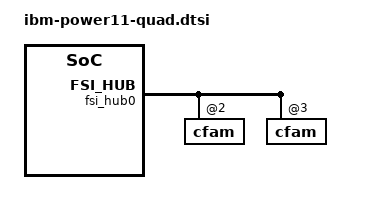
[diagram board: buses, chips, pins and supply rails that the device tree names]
// SPDX-License-Identifier: GPL-2.0-or-later
// Copyright 2024 IBM Corp.

#include "ibm-power11-dual.dtsi"

/ {
	aliases {
		i2c300 = &cfam2_i2c0;
		i2c301 = &cfam2_i2c1;
		i2c310 = &cfam2_i2c10;
		i2c311 = &cfam2_i2c11;
		i2c312 = &cfam2_i2c12;
		i2c313 = &cfam2_i2c13;
		i2c314 = &cfam2_i2c14;
		i2c315 = &cfam2_i2c15;
		i2c402 = &cfam3_i2c2;
		i2c403 = &cfam3_i2c3;
		i2c410 = &cfam3_i2c10;
		i2c411 = &cfam3_i2c11;
		i2c414 = &cfam3_i2c14;
		i2c415 = &cfam3_i2c15;
		i2c416 = &cfam3_i2c16;
		i2c417 = &cfam3_i2c17;

		sbefifo300 = &sbefifo300;
		sbefifo301 = &sbefifo301;
		sbefifo310 = &sbefifo310;
		sbefifo311 = &sbefifo311;
		sbefifo312 = &sbefifo312;
		sbefifo313 = &sbefifo313;
		sbefifo314 = &sbefifo314;
		sbefifo315 = &sbefifo315;
		sbefifo402 = &sbefifo402;
		sbefifo403 = &sbefifo403;
		sbefifo410 = &sbefifo410;
		sbefifo411 = &sbefifo411;
		sbefifo414 = &sbefifo414;
		sbefifo415 = &sbefifo415;
		sbefifo416 = &sbefifo416;
		sbefifo417 = &sbefifo417;

		scom300 = &scom300;
		scom301 = &scom301;
		scom310 = &scom310;
		scom311 = &scom311;
		scom312 = &scom312;
		scom313 = &scom313;
		scom314 = &scom314;
		scom315 = &scom315;
		scom402 = &scom402;
		scom403 = &scom403;
		scom410 = &scom410;
		scom411 = &scom411;
		scom414 = &scom414;
		scom415 = &scom415;
		scom416 = &scom416;
		scom417 = &scom417;

		spi30 = &cfam2_spi0;
		spi31 = &cfam2_spi1;
		spi32 = &cfam2_spi2;
		spi33 = &cfam2_spi3;
		spi40 = &cfam3_spi0;
		spi41 = &cfam3_spi1;
		spi42 = &cfam3_spi2;
		spi43 = &cfam3_spi3;
	};
};

&fsi_hub0 {
	cfam@2,0 {
		reg = <2 0>;
		#address-cells = <1>;
		#size-cells = <1>;
		chip-id = <2>;

		scom@1000 {
			compatible = "ibm,p9-scom";
			reg = <0x1000 0x400>;
		};

		i2c@1800 {
			compatible = "ibm,i2c-fsi";
			reg = <0x1800 0x400>;
			#address-cells = <1>;
			#size-cells = <0>;

			cfam2_i2c0: i2c-bus@0 {
				reg = <0>;	/* OM01 */
				#address-cells = <1>;
				#size-cells = <0>;

				fsi@20 {
					compatible = "ibm,i2cr-fsi-master";
					reg = <0x20>;
					#address-cells = <2>;
					#size-cells = <0>;

					cfam@0,0 {
						reg = <0 0>;
						#address-cells = <1>;
						#size-cells = <1>;
						chip-id = <0>;

						scom300: scom@1000 {
							compatible = "ibm,i2cr-scom";
							reg = <0x1000 0x400>;
						};

						sbefifo300: sbefifo@2400 {
							compatible = "ibm,odyssey-sbefifo";
							reg = <0x2400 0x400>;
						};
					};
				};
			};

			cfam2_i2c1: i2c-bus@1 {
				reg = <1>;	/* OM23 */
				#address-cells = <1>;
				#size-cells = <0>;

				fsi@20 {
					compatible = "ibm,i2cr-fsi-master";
					reg = <0x20>;
					#address-cells = <2>;
					#size-cells = <0>;

					cfam@0,0 {
						reg = <0 0>;
						#address-cells = <1>;
						#size-cells = <1>;
						chip-id = <0>;

						scom301: scom@1000 {
							compatible = "ibm,i2cr-scom";
							reg = <0x1000 0x400>;
						};

						sbefifo301: sbefifo@2400 {
							compatible = "ibm,odyssey-sbefifo";
							reg = <0x2400 0x400>;
						};
					};
				};
			};

			cfam2_i2c10: i2c-bus@a {
				reg = <10>;	/* OP3A */
				#address-cells = <1>;
				#size-cells = <0>;

				fsi@20 {
					compatible = "ibm,i2cr-fsi-master";
					reg = <0x20>;
					#address-cells = <2>;
					#size-cells = <0>;

					cfam@0,0 {
						reg = <0 0>;
						#address-cells = <1>;
						#size-cells = <1>;
						chip-id = <0>;

						scom310: scom@1000 {
							compatible = "ibm,i2cr-scom";
							reg = <0x1000 0x400>;
						};

						sbefifo310: sbefifo@2400 {
							compatible = "ibm,odyssey-sbefifo";
							reg = <0x2400 0x400>;
						};
					};
				};
			};

			cfam2_i2c11: i2c-bus@b {
				reg = <11>;	/* OP3B */
				#address-cells = <1>;
				#size-cells = <0>;

				fsi@20 {
					compatible = "ibm,i2cr-fsi-master";
					reg = <0x20>;
					#address-cells = <2>;
					#size-cells = <0>;

					cfam@0,0 {
						reg = <0 0>;
						#address-cells = <1>;
						#size-cells = <1>;
						chip-id = <0>;

						scom311: scom@1000 {
							compatible = "ibm,i2cr-scom";
							reg = <0x1000 0x400>;
						};

						sbefifo311: sbefifo@2400 {
							compatible = "ibm,odyssey-sbefifo";
							reg = <0x2400 0x400>;
						};
					};
				};
			};

			cfam2_i2c12: i2c-bus@c {
				reg = <12>;	/* OP4A */
				#address-cells = <1>;
				#size-cells = <0>;

				fsi@20 {
					compatible = "ibm,i2cr-fsi-master";
					reg = <0x20>;
					#address-cells = <2>;
					#size-cells = <0>;

					cfam@0,0 {
						reg = <0 0>;
						#address-cells = <1>;
						#size-cells = <1>;
						chip-id = <0>;

						scom312: scom@1000 {
							compatible = "ibm,i2cr-scom";
							reg = <0x1000 0x400>;
						};

						sbefifo312: sbefifo@2400 {
							compatible = "ibm,odyssey-sbefifo";
							reg = <0x2400 0x400>;
						};
					};
				};
			};

			cfam2_i2c13: i2c-bus@d {
				reg = <13>;	/* OP4B */
				#address-cells = <1>;
				#size-cells = <0>;

				fsi@20 {
					compatible = "ibm,i2cr-fsi-master";
					reg = <0x20>;
					#address-cells = <2>;
					#size-cells = <0>;

					cfam@0,0 {
						reg = <0 0>;
						#address-cells = <1>;
						#size-cells = <1>;
						chip-id = <0>;

						scom313: scom@1000 {
							compatible = "ibm,i2cr-scom";
							reg = <0x1000 0x400>;
						};

						sbefifo313: sbefifo@2400 {
							compatible = "ibm,odyssey-sbefifo";
							reg = <0x2400 0x400>;
						};
					};
				};
			};

			cfam2_i2c14: i2c-bus@e {
				reg = <14>;	/* OP5A */
				#address-cells = <1>;
				#size-cells = <0>;

				fsi@20 {
					compatible = "ibm,i2cr-fsi-master";
					reg = <0x20>;
					#address-cells = <2>;
					#size-cells = <0>;

					cfam@0,0 {
						reg = <0 0>;
						#address-cells = <1>;
						#size-cells = <1>;
						chip-id = <0>;

						scom314: scom@1000 {
							compatible = "ibm,i2cr-scom";
							reg = <0x1000 0x400>;
						};

						sbefifo314: sbefifo@2400 {
							compatible = "ibm,odyssey-sbefifo";
							reg = <0x2400 0x400>;
						};
					};
				};
			};

			cfam2_i2c15: i2c-bus@f {
				reg = <15>;	/* OP5B */
				#address-cells = <1>;
				#size-cells = <0>;

				fsi@20 {
					compatible = "ibm,i2cr-fsi-master";
					reg = <0x20>;
					#address-cells = <2>;
					#size-cells = <0>;

					cfam@0,0 {
						reg = <0 0>;
						#address-cells = <1>;
						#size-cells = <1>;
						chip-id = <0>;

						scom315: scom@1000 {
							compatible = "ibm,i2cr-scom";
							reg = <0x1000 0x400>;
						};

						sbefifo315: sbefifo@2400 {
							compatible = "ibm,odyssey-sbefifo";
							reg = <0x2400 0x400>;
						};
					};
				};
			};
		};

		fsi2spi@1c00 {
			compatible = "ibm,fsi2spi";
			reg = <0x1c00 0x400>;
			#address-cells = <1>;
			#size-cells = <0>;

			cfam2_spi0: spi@0 {
				compatible = "ibm,spi-fsi";
				reg = <0x0>;
				#address-cells = <1>;
				#size-cells = <0>;

				eeprom@0 {
					compatible = "atmel,at25";
					reg = <0>;
					address-width = <24>;
					pagesize = <256>;
					size = <0x80000>;
					spi-max-frequency = <10000000>;
				};
			};

			cfam2_spi1: spi@20 {
				compatible = "ibm,spi-fsi";
				reg = <0x20>;
				#address-cells = <1>;
				#size-cells = <0>;

				eeprom@0 {
					compatible = "atmel,at25";
					reg = <0>;
					address-width = <24>;
					pagesize = <256>;
					size = <0x80000>;
					spi-max-frequency = <10000000>;
				};
			};

			cfam2_spi2: spi@40 {
				compatible = "ibm,spi-fsi";
				reg = <0x40>;
				#address-cells = <1>;
				#size-cells = <0>;

				eeprom@0 {
					compatible = "atmel,at25";
					reg = <0>;
					address-width = <24>;
					pagesize = <256>;
					size = <0x80000>;
					spi-max-frequency = <10000000>;
				};
			};

			cfam2_spi3: spi@60 {
				compatible = "ibm,spi-fsi";
				reg = <0x60>;
				#address-cells = <1>;
				#size-cells = <0>;

				eeprom@0 {
					compatible = "atmel,at25";
					reg = <0>;
					address-width = <24>;
					pagesize = <256>;
					size = <0x80000>;
					spi-max-frequency = <10000000>;
				};
			};
		};

		sbefifo@2400 {
			compatible = "ibm,p9-sbefifo";
			reg = <0x2400 0x400>;

			occ {
				compatible = "ibm,p10-occ";

				hwmon {
					compatible = "ibm,p10-occ-hwmon";
					ibm,no-poll-on-init;
				};
			};
		};

		fsi@3400 {
			compatible = "ibm,p9-fsi-controller";
			reg = <0x3400 0x400>;
			#address-cells = <2>;
			#size-cells = <0>;
			no-scan-on-init;
		};
	};

	cfam@3,0 {
		reg = <3 0>;
		#address-cells = <1>;
		#size-cells = <1>;
		chip-id = <3>;

		scom@1000 {
			compatible = "ibm,p9-scom";
			reg = <0x1000 0x400>;
		};

		i2c@1800 {
			compatible = "ibm,i2c-fsi";
			reg = <0x1800 0x400>;
			#address-cells = <1>;
			#size-cells = <0>;

			cfam3_i2c2: i2c-bus@2 {
				reg = <2>;	/* OM45 */
				#address-cells = <1>;
				#size-cells = <0>;

				fsi@20 {
					compatible = "ibm,i2cr-fsi-master";
					reg = <0x20>;
					#address-cells = <2>;
					#size-cells = <0>;

					cfam@0,0 {
						reg = <0 0>;
						#address-cells = <1>;
						#size-cells = <1>;
						chip-id = <0>;

						scom402: scom@1000 {
							compatible = "ibm,i2cr-scom";
							reg = <0x1000 0x400>;
						};

						sbefifo402: sbefifo@2400 {
							compatible = "ibm,odyssey-sbefifo";
							reg = <0x2400 0x400>;
						};
					};
				};
			};

			cfam3_i2c3: i2c-bus@3 {
				reg = <3>;	/* OM67 */
				#address-cells = <1>;
				#size-cells = <0>;

				fsi@20 {
					compatible = "ibm,i2cr-fsi-master";
					reg = <0x20>;
					#address-cells = <2>;
					#size-cells = <0>;

					cfam@0,0 {
						reg = <0 0>;
						#address-cells = <1>;
						#size-cells = <1>;
						chip-id = <0>;

						scom403: scom@1000 {
							compatible = "ibm,i2cr-scom";
							reg = <0x1000 0x400>;
						};

						sbefifo403: sbefifo@2400 {
							compatible = "ibm,odyssey-sbefifo";
							reg = <0x2400 0x400>;
						};
					};
				};
			};

			cfam3_i2c10: i2c-bus@a {
				reg = <10>;	/* OP3A */
				#address-cells = <1>;
				#size-cells = <0>;

				fsi@20 {
					compatible = "ibm,i2cr-fsi-master";
					reg = <0x20>;
					#address-cells = <2>;
					#size-cells = <0>;

					cfam@0,0 {
						reg = <0 0>;
						#address-cells = <1>;
						#size-cells = <1>;
						chip-id = <0>;

						scom410: scom@1000 {
							compatible = "ibm,i2cr-scom";
							reg = <0x1000 0x400>;
						};

						sbefifo410: sbefifo@2400 {
							compatible = "ibm,odyssey-sbefifo";
							reg = <0x2400 0x400>;
						};
					};
				};
			};

			cfam3_i2c11: i2c-bus@b {
				reg = <11>;	/* OP3B */
				#address-cells = <1>;
				#size-cells = <0>;

				fsi@20 {
					compatible = "ibm,i2cr-fsi-master";
					reg = <0x20>;
					#address-cells = <2>;
					#size-cells = <0>;

					cfam@0,0 {
						reg = <0 0>;
						#address-cells = <1>;
						#size-cells = <1>;
						chip-id = <0>;

						scom411: scom@1000 {
							compatible = "ibm,i2cr-scom";
							reg = <0x1000 0x400>;
						};

						sbefifo411: sbefifo@2400 {
							compatible = "ibm,odyssey-sbefifo";
							reg = <0x2400 0x400>;
						};
					};
				};
			};

			cfam3_i2c14: i2c-bus@e {
				reg = <14>;	/* OP5A */
				#address-cells = <1>;
				#size-cells = <0>;

				fsi@20 {
					compatible = "ibm,i2cr-fsi-master";
					reg = <0x20>;
					#address-cells = <2>;
					#size-cells = <0>;

					cfam@0,0 {
						reg = <0 0>;
						#address-cells = <1>;
						#size-cells = <1>;
						chip-id = <0>;

						scom414: scom@1000 {
							compatible = "ibm,i2cr-scom";
							reg = <0x1000 0x400>;
						};

						sbefifo414: sbefifo@2400 {
							compatible = "ibm,odyssey-sbefifo";
							reg = <0x2400 0x400>;
						};
					};
				};
			};

			cfam3_i2c15: i2c-bus@f {
				reg = <15>;	/* OP5B */
				#address-cells = <1>;
				#size-cells = <0>;

				fsi@20 {
					compatible = "ibm,i2cr-fsi-master";
					reg = <0x20>;
					#address-cells = <2>;
					#size-cells = <0>;

					cfam@0,0 {
						reg = <0 0>;
						#address-cells = <1>;
						#size-cells = <1>;
						chip-id = <0>;

						scom415: scom@1000 {
							compatible = "ibm,i2cr-scom";
							reg = <0x1000 0x400>;
						};

						sbefifo415: sbefifo@2400 {
							compatible = "ibm,odyssey-sbefifo";
							reg = <0x2400 0x400>;
						};
					};
				};
			};

			cfam3_i2c16: i2c-bus@10 {
				reg = <16>;	/* OP6A */
				#address-cells = <1>;
				#size-cells = <0>;

				fsi@20 {
					compatible = "ibm,i2cr-fsi-master";
					reg = <0x20>;
					#address-cells = <2>;
					#size-cells = <0>;

					cfam@0,0 {
						reg = <0 0>;
						#address-cells = <1>;
						#size-cells = <1>;
						chip-id = <0>;

						scom416: scom@1000 {
							compatible = "ibm,i2cr-scom";
							reg = <0x1000 0x400>;
						};

						sbefifo416: sbefifo@2400 {
							compatible = "ibm,odyssey-sbefifo";
							reg = <0x2400 0x400>;
						};
					};
				};
			};

			cfam3_i2c17: i2c-bus@11 {
				reg = <17>;	/* OP6B */
				#address-cells = <1>;
				#size-cells = <0>;

				fsi@20 {
					compatible = "ibm,i2cr-fsi-master";
					reg = <0x20>;
					#address-cells = <2>;
					#size-cells = <0>;

					cfam@0,0 {
						reg = <0 0>;
						#address-cells = <1>;
						#size-cells = <1>;
						chip-id = <0>;

						scom417: scom@1000 {
							compatible = "ibm,i2cr-scom";
							reg = <0x1000 0x400>;
						};

						sbefifo417: sbefifo@2400 {
							compatible = "ibm,odyssey-sbefifo";
							reg = <0x2400 0x400>;
						};
					};
				};
			};
		};

		fsi2spi@1c00 {
			compatible = "ibm,fsi2spi";
			reg = <0x1c00 0x400>;
			#address-cells = <1>;
			#size-cells = <0>;

			cfam3_spi0: spi@0 {
				compatible = "ibm,spi-fsi";
				reg = <0x0>;
				#address-cells = <1>;
				#size-cells = <0>;

				eeprom@0 {
					compatible = "atmel,at25";
					reg = <0>;
					address-width = <24>;
					pagesize = <256>;
					size = <0x80000>;
					spi-max-frequency = <10000000>;
				};
			};

			cfam3_spi1: spi@20 {
				compatible = "ibm,spi-fsi";
				reg = <0x20>;
				#address-cells = <1>;
				#size-cells = <0>;

				eeprom@0 {
					compatible = "atmel,at25";
					reg = <0>;
					address-width = <24>;
					pagesize = <256>;
					size = <0x80000>;
					spi-max-frequency = <10000000>;
				};
			};

			cfam3_spi2: spi@40 {
				compatible = "ibm,spi-fsi";
				reg = <0x40>;
				#address-cells = <1>;
				#size-cells = <0>;

				eeprom@0 {
					compatible = "atmel,at25";
					reg = <0>;
					address-width = <24>;
					pagesize = <256>;
					size = <0x80000>;
					spi-max-frequency = <10000000>;
				};
			};

			cfam3_spi3: spi@60 {
				compatible = "ibm,spi-fsi";
				reg = <0x60>;
				#address-cells = <1>;
				#size-cells = <0>;

				eeprom@0 {
					compatible = "atmel,at25";
					reg = <0>;
					address-width = <24>;
					pagesize = <256>;
					size = <0x80000>;
					spi-max-frequency = <10000000>;
				};
			};
		};

		sbefifo@2400 {
			compatible = "ibm,p9-sbefifo";
			reg = <0x2400 0x400>;

			occ {
				compatible = "ibm,p10-occ";

				hwmon {
					compatible = "ibm,p10-occ-hwmon";
					ibm,no-poll-on-init;
				};
			};
		};

		fsi@3400 {
			compatible = "ibm,p9-fsi-controller";
			reg = <0x3400 0x400>;
			#address-cells = <2>;
			#size-cells = <0>;
			no-scan-on-init;
		};
	};
};
